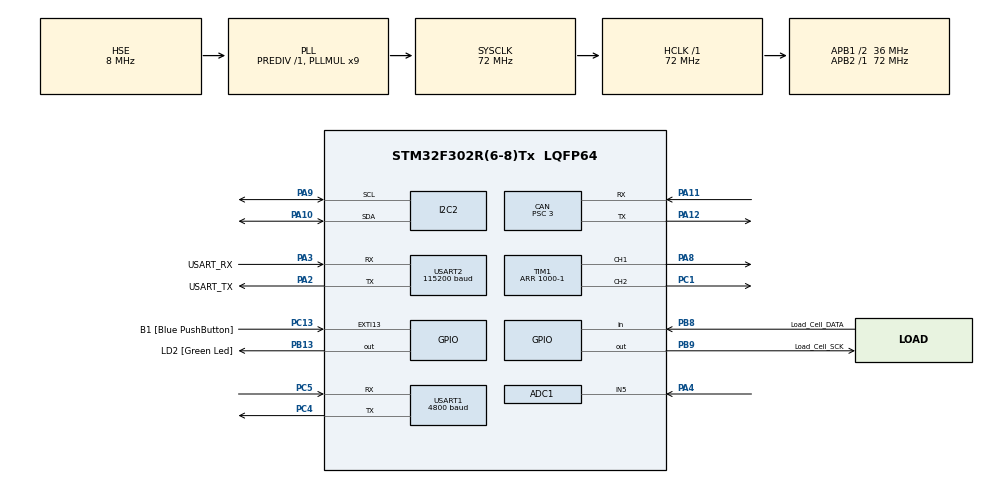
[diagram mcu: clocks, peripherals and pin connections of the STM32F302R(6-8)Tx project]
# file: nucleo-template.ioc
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ADC1.Channel-0\#ChannelRegularConversion=ADC_CHANNEL_5
ADC1.NbrOfConversionFlag=1
ADC1.Offset-0\#ChannelRegularConversion=0
ADC1.OffsetNumber-0\#ChannelRegularConversion=ADC_OFFSET_NONE
ADC1.Rank-0\#ChannelRegularConversion=1
ADC1.SamplingTime-0\#ChannelRegularConversion=ADC_SAMPLETIME_601CYCLES_5
ADC1.SamplingTimeOPAMP-0\#ChannelRegularConversion=ADC_SAMPLETIME_61CYCLES_5
ADC1.SubFamily=STM32F302x8
ADC1.master=1
CAN.ABOM=ENABLE
CAN.BS1=CAN_BS1_9TQ
CAN.BS2=CAN_BS2_2TQ
CAN.CalculateBaudRate=999999
CAN.CalculateTimeBit=1000
CAN.CalculateTimeQuantum=83.33333333333334
CAN.NART=ENABLE
CAN.Prescaler=3
I2C2.Timing=0x00201D2B
IWDG.Prescaler=IWDG_PRESCALER_256
IWDG.Reload=2500
Mcu.Family=STM32F3
Mcu.Name=STM32F302R(6-8)Tx
Mcu.Package=LQFP64
NVIC.CAN_RX1_IRQn=true\:0\:0\:false\:false\:true\:true\:true\:true
NVIC.PriorityGroup=NVIC_PRIORITYGROUP_0
NVIC.TIM6_DAC_IRQn=true\:0\:0\:false\:false\:true\:true\:true\:true
NVIC.USART1_IRQn=true\:0\:0\:false\:false\:true\:true\:true\:true
PA10.Mode=I2C
PA10.Signal=I2C2_SDA
PA11.Mode=CAN_Activate
PA11.Signal=CAN_RX
PA12.Mode=CAN_Activate
PA12.Signal=CAN_TX
PA13.GPIO_Label=TMS
PA13.Mode=Serial_Wire
PA13.Signal=SYS_JTMS-SWDIO
PA14.GPIO_Label=TCK
PA14.Mode=Serial_Wire
PA14.Signal=SYS_JTCK-SWCLK
PA2.GPIO_Label=USART_TX
PA2.GPIO_Mode=GPIO_MODE_AF_PP
PA2.GPIO_PuPd=GPIO_NOPULL
PA2.GPIO_Speed=GPIO_SPEED_FREQ_LOW
PA2.Mode=Asynchronous
PA2.Signal=USART2_TX
PA3.GPIO_Label=USART_RX
PA3.GPIO_Mode=GPIO_MODE_AF_PP
PA3.GPIO_PuPd=GPIO_NOPULL
PA3.GPIO_Speed=GPIO_SPEED_FREQ_LOW
PA3.Mode=Asynchronous
PA3.Signal=USART2_RX
PA4.Mode=IN5-Single-Ended
PA4.Signal=ADC1_IN5
PA8.Signal=S_TIM1_CH1
PA9.Mode=I2C
PA9.Signal=I2C2_SCL
PB13.GPIO_Label=LD2 [Green Led]
PB13.Signal=GPIO_Output
PB3.GPIO_Label=SWO
PB3.Mode=Trace_Asynchronous_SW
PB3.Signal=SYS_JTDO-TRACESWO
PB8.GPIO_Label=Load_Cell_DATA
PB8.Signal=GPIO_Input
PB9.GPIO_Label=Load_Cell_SCK
PB9.Signal=GPIO_Output
PC1.Signal=S_TIM1_CH2
PC13.GPIO_Label=B1 [Blue PushButton]
PC13.GPIO_ModeDefaultEXTI=GPIO_MODE_IT_FALLING
PC13.Signal=GPXTI13
PC14\ -\ OSC32_IN.Mode=LSE-External-Oscillator
PC14\ -\ OSC32_IN.Signal=RCC_OSC32_IN
PC15\ -\ OSC32_OUT.Mode=LSE-External-Oscillator
PC15\ -\ OSC32_OUT.Signal=RCC_OSC32_OUT
PC4.Mode=Asynchronous
PC4.Signal=USART1_TX
PC5.Mode=Asynchronous
PC5.Signal=USART1_RX
PF0-OSC_IN.Mode=HSE-External-Clock-Source
PF0-OSC_IN.Signal=RCC_OSC_IN
PF1-OSC_OUT.Signal=RCC_OSC_OUT
ProjectManager.HeapSize=0x200
ProjectManager.StackSize=0x400
ProjectManager.TargetToolchain=STM32CubeIDE
RCC.AHBFreq_Value=72000000
RCC.APB1CLKDivider=RCC_HCLK_DIV2
RCC.APB1Freq_Value=36000000
RCC.APB1TimFreq_Value=72000000
RCC.APB2Freq_Value=72000000
RCC.APB2TimFreq_Value=72000000
RCC.CortexFreq_Value=72000000
RCC.HCLKFreq_Value=72000000
RCC.HSE_VALUE=8000000
RCC.HSI_VALUE=8000000
RCC.PLLM=8
RCC.PLLMUL=RCC_PLL_MUL9
RCC.PLLN=336
RCC.PLLP=RCC_PLLP_DIV4
RCC.PLLQ=7
RCC.PLLSourceVirtual=RCC_PLLSOURCE_HSE
RCC.SYSCLKFreq_VALUE=72000000
RCC.SYSCLKSourceVirtual=RCC_SYSCLKSOURCE_PLLCLK
RCC.USBFreq_Value=72000000
SH.S_TIM1_CH1.0=TIM1_CH1,PWM Generation1 CH1
SH.S_TIM1_CH2.0=TIM1_CH2,PWM Generation2 CH2
TIM1.Channel-PWM\ Generation1\ CH1=TIM_CHANNEL_1
TIM1.Channel-PWM\ Generation2\ CH2=TIM_CHANNEL_2
TIM1.Period=1000-1
TIM2.Period=65535
TIM2.Prescaler=72-1
TIM6.Prescaler=35999
USART1.BaudRate=4800
USART1.VirtualMode-Asynchronous=VM_ASYNC
USART2.BaudRate=115200
USART2.VirtualMode-Asynchronous=VM_ASYNC
VP_IWDG_VS_IWDG.Mode=IWDG_Activate
VP_TIM2_VS_ClockSourceINT.Mode=Internal
VP_TIM6_VS_ClockSourceINT.Mode=Enable_Timer
board=NUCLEO-F302R8

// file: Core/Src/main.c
/* USER CODE BEGIN Header */
/**
  ******************************************************************************
  * @file           : main.c
  * @brief          : Main program body
  ******************************************************************************
  * @attention
  *
  * Copyright (c) 2026 STMicroelectronics.
  * All rights reserved.
  *
  * This software is licensed under terms that can be found in the LICENSE file
  * in the root directory of this software component.
  * If no LICENSE file comes with this software, it is provided AS-IS.
  *
  ******************************************************************************
  */
/* USER CODE END Header */
#include "main.h"

/* USER CODE BEGIN Includes */
#include "sgp30.h"
#include "h2_sensor_driver.h"
#include "soil_sensor.h"
#include "hx711.h"
#include "weigh.h"
#include "can_handler.h"
#include "logger.h"
#include "pump_driver.h"

/* USER CODE END Includes */

ADC_HandleTypeDef hadc1;

CAN_HandleTypeDef hcan;

I2C_HandleTypeDef hi2c2;

IWDG_HandleTypeDef hiwdg;

TIM_HandleTypeDef htim1;
TIM_HandleTypeDef htim2;
TIM_HandleTypeDef htim6;

UART_HandleTypeDef huart1;
UART_HandleTypeDef huart2;

/* USER CODE BEGIN PV */
volatile uint8_t weighRequest = 0;   /* set by CAN_Process_Incoming() (can_handler.c) */
volatile uint8_t tareRequest = 0;
/* USER CODE END PV */

void SystemClock_Config(void);
static void MX_GPIO_Init(void);
static void MX_USART2_UART_Init(void);
static void MX_CAN_Init(void);
static void MX_ADC1_Init(void);
static void MX_I2C2_Init(void);
static void MX_TIM1_Init(void);
static void MX_USART1_UART_Init(void);
static void MX_IWDG_Init(void);
static void MX_TIM2_Init(void);
static void MX_TIM6_Init(void);

int main(void)
{

  /* MCU Configuration--------------------------------------------------------*/

  /* Reset of all peripherals, Initializes the Flash interface and the Systick. */
  HAL_Init();

  /* Configure the system clock */
  SystemClock_Config();

  /* Initialize all configured peripherals */
  MX_GPIO_Init();
  MX_USART2_UART_Init();
  MX_CAN_Init();
  MX_ADC1_Init();
  MX_I2C2_Init();
  MX_TIM1_Init();
  MX_USART1_UART_Init();
  MX_IWDG_Init();
  MX_TIM2_Init();
  MX_TIM6_Init();
  /* USER CODE BEGIN 2 */
  if (HAL_TIM_PWM_Start(&htim1, TIM_CHANNEL_1) != HAL_OK) {
    Error_Handler();
  }
  LOG_INIT(&huart2);

  if (CAN_CONFIG(&hcan) != HAL_OK) {
    Error_Handler();
  }
  if (HAL_CAN_Start(&hcan) != HAL_OK) {
    Error_Handler();
  }
  if (HAL_CAN_ActivateNotification(&hcan, CAN_IT_RX_FIFO1_MSG_PENDING) != HAL_OK) {
    Error_Handler();
  }

  __HAL_DBGMCU_FREEZE_IWDG();       /* the watchdog pauses while a debugger halts the core */

  /* A sensor that fails to start is logged, not fatal: the loop sends only successful reads, and the
     other sensors keep running. */
  sgp30_t sgp30;
  if (sgp30_init(&sgp30, &hi2c2) != HAL_OK) {
    LOG_ERROR("SGP30 init failed");
  }
  uint32_t co2_start = HAL_GetTick(); /* the SGP30 reports fixed values for 15 s after init */

  H2_Sensor h2;
  if (h2_sensor_init(&h2, &hadc1) != HAL_OK) {
    LOG_ERROR("H2 sensor init failed");
  }

  uint32_t last_second = HAL_GetTick();

  if (HAL_TIM_Base_Start(&htim2) != HAL_OK) {   /* 1 MHz counter for the HX711 clock pulses (hx711.c) */
    Error_Handler();
  }
  HAL_GPIO_WritePin(SCK_PORT, SCK_PIN, GPIO_PIN_SET);     /* reset the HX711: clock high for over 60 us, */
  HAL_Delay(10);
  HAL_GPIO_WritePin(SCK_PORT, SCK_PIN, GPIO_PIN_RESET);   /* then low (HX711 datasheet, p. 5) */
  HAL_Delay(10);

  LOG_INFO("All initializations complete!");

  //Pump test

  pump(&htim6, 50);
  /* USER CODE END 2 */

  /* Infinite loop */
  while (1)
  {

    /* USER CODE BEGIN 3 */
    HAL_IWDG_Refresh(&hiwdg);

    /* Weigh and tare run when CAN_WEIGHT_CELL_ID asks for them (can_handler.c). Each takes 50 HX711 samples:
       about 5 s at 10 samples/s, and at most about 10 s if the HX711 never signals ready (200 ms timeout
       per sample in hx711.c). The watchdog is refreshed after each; its shortest timeout (12.8 s) is longer. */
    if (tareRequest == 1) {
      tare_request(&htim2);
      tareRequest = 0;
      HAL_IWDG_Refresh(&hiwdg);
    }
    if (weighRequest == 1) {
      int weight = weigh(&htim2);   /* milligrams */
      weighRequest = 0;
      weight = weight * 0.95;       /* scaled as in the weight-cell repository's main.c */
      if (CAN_TRANSMIT(&hcan, CAN_WEIGHT_CELL_ID, (uint8_t *) &weight, 4) != HAL_OK) {
        LOG_ERROR("weight CAN send failed");
      }
      HAL_IWDG_Refresh(&hiwdg);
    }

    if (HAL_GetTick() - last_second >= 1000) {   /* the SGP30 must be read every 1 s */
      last_second = HAL_GetTick();             /* restart the second; a slow pass must not cause a catch-up burst */

      sgp30_iaq_t r;
      if (sgp30_read_iaq(&sgp30, &r) == HAL_OK && HAL_GetTick() - co2_start >= 15000) {
        uint8_t data[4] = { r.co2eq_ppm >> 8, r.co2eq_ppm & 0xFF, r.tvoc_ppb >> 8, r.tvoc_ppb & 0xFF };
        if (CAN_TRANSMIT(&hcan, CAN_CO2_ID, data, 4) != HAL_OK) {
          LOG_ERROR("CO2 CAN send failed");
        }
      }

      if (read_ADC(&h2) == HAL_OK) {
        if (transmit_h2_sensor_values(&hcan, &h2) != HAL_OK) {
          LOG_ERROR("H2 CAN send failed");
        }
      }

      /* One soil request per second. The reply arrives by interrupt and is collected below, so a slow
         or missing sensor no longer delays the SGP30 read (sending the request takes about 27 ms). */
      Soil_StartReadAll(&huart1);
    }

    Soil_Data soil;
    if (Soil_PollReadAll(&soil) == SOIL_OK && Soil_CAN_Transmit(&hcan, &soil) != HAL_OK) {
      LOG_ERROR("soil CAN send failed");
    }
  }
  /* USER CODE END 3 */
}

void SystemClock_Config(void)
{
  RCC_OscInitTypeDef RCC_OscInitStruct = {0};
  RCC_ClkInitTypeDef RCC_ClkInitStruct = {0};
  RCC_PeriphCLKInitTypeDef PeriphClkInit = {0};

  /** Initializes the RCC Oscillators according to the specified parameters
  * in the RCC_OscInitTypeDef structure.
  */
  RCC_OscInitStruct.OscillatorType = RCC_OSCILLATORTYPE_HSI|RCC_OSCILLATORTYPE_LSI
                              |RCC_OSCILLATORTYPE_HSE;
  RCC_OscInitStruct.HSEState = RCC_HSE_BYPASS;
  RCC_OscInitStruct.HSEPredivValue = RCC_HSE_PREDIV_DIV1;
  RCC_OscInitStruct.HSIState = RCC_HSI_ON;
  RCC_OscInitStruct.HSICalibrationValue = RCC_HSICALIBRATION_DEFAULT;
  RCC_OscInitStruct.LSIState = RCC_LSI_ON;
  RCC_OscInitStruct.PLL.PLLState = RCC_PLL_ON;
  RCC_OscInitStruct.PLL.PLLSource = RCC_PLLSOURCE_HSE;
  RCC_OscInitStruct.PLL.PLLMUL = RCC_PLL_MUL9;
  if (HAL_RCC_OscConfig(&RCC_OscInitStruct) != HAL_OK)
  {
    Error_Handler();
  }

  /** Initializes the CPU, AHB and APB buses clocks
  */
  RCC_ClkInitStruct.ClockType = RCC_CLOCKTYPE_HCLK|RCC_CLOCKTYPE_SYSCLK
                              |RCC_CLOCKTYPE_PCLK1|RCC_CLOCKTYPE_PCLK2;
  RCC_ClkInitStruct.SYSCLKSource = RCC_SYSCLKSOURCE_PLLCLK;
  RCC_ClkInitStruct.AHBCLKDivider = RCC_SYSCLK_DIV1;
  RCC_ClkInitStruct.APB1CLKDivider = RCC_HCLK_DIV2;
  RCC_ClkInitStruct.APB2CLKDivider = RCC_HCLK_DIV1;

  if (HAL_RCC_ClockConfig(&RCC_ClkInitStruct, FLASH_LATENCY_2) != HAL_OK)
  {
    Error_Handler();
  }
  PeriphClkInit.PeriphClockSelection = RCC_PERIPHCLK_USART1|RCC_PERIPHCLK_I2C2
                              |RCC_PERIPHCLK_TIM1|RCC_PERIPHCLK_ADC1;
  PeriphClkInit.Usart1ClockSelection = RCC_USART1CLKSOURCE_PCLK1;
  PeriphClkInit.I2c2ClockSelection = RCC_I2C2CLKSOURCE_HSI;
  PeriphClkInit.Tim1ClockSelection = RCC_TIM1CLK_HCLK;
  PeriphClkInit.Adc1ClockSelection = RCC_ADC1PLLCLK_DIV1;

  if (HAL_RCCEx_PeriphCLKConfig(&PeriphClkInit) != HAL_OK)
  {
    Error_Handler();
  }
}

static void MX_ADC1_Init(void)
{

  ADC_ChannelConfTypeDef sConfig = {0};

  /** Common config
  */
  hadc1.Instance = ADC1;
  hadc1.Init.ClockPrescaler = ADC_CLOCK_ASYNC_DIV1;
  hadc1.Init.Resolution = ADC_RESOLUTION_12B;
  hadc1.Init.ScanConvMode = ADC_SCAN_DISABLE;
  hadc1.Init.ContinuousConvMode = DISABLE;
  hadc1.Init.DiscontinuousConvMode = DISABLE;
  hadc1.Init.ExternalTrigConvEdge = ADC_EXTERNALTRIGCONVEDGE_NONE;
  hadc1.Init.ExternalTrigConv = ADC_SOFTWARE_START;
  hadc1.Init.DataAlign = ADC_DATAALIGN_RIGHT;
  hadc1.Init.NbrOfConversion = 1;
  hadc1.Init.DMAContinuousRequests = DISABLE;
  hadc1.Init.EOCSelection = ADC_EOC_SINGLE_CONV;
  hadc1.Init.LowPowerAutoWait = DISABLE;
  hadc1.Init.Overrun = ADC_OVR_DATA_OVERWRITTEN;
  if (HAL_ADC_Init(&hadc1) != HAL_OK)
  {
    Error_Handler();
  }

  /** Configure Regular Channel
  */
  sConfig.Channel = ADC_CHANNEL_5;
  sConfig.Rank = ADC_REGULAR_RANK_1;
  sConfig.SingleDiff = ADC_SINGLE_ENDED;
  sConfig.SamplingTime = ADC_SAMPLETIME_601CYCLES_5;
  sConfig.OffsetNumber = ADC_OFFSET_NONE;
  sConfig.Offset = 0;
  if (HAL_ADC_ConfigChannel(&hadc1, &sConfig) != HAL_OK)
  {
    Error_Handler();
  }

}

static void MX_CAN_Init(void)
{

  hcan.Instance = CAN;
  hcan.Init.Prescaler = 3;
  hcan.Init.Mode = CAN_MODE_NORMAL;
  hcan.Init.SyncJumpWidth = CAN_SJW_1TQ;
  hcan.Init.TimeSeg1 = CAN_BS1_9TQ;
  hcan.Init.TimeSeg2 = CAN_BS2_2TQ;
  hcan.Init.TimeTriggeredMode = DISABLE;
  hcan.Init.AutoBusOff = ENABLE;
  hcan.Init.AutoWakeUp = DISABLE;
  hcan.Init.AutoRetransmission = ENABLE;
  hcan.Init.ReceiveFifoLocked = DISABLE;
  hcan.Init.TransmitFifoPriority = DISABLE;
  if (HAL_CAN_Init(&hcan) != HAL_OK)
  {
    Error_Handler();
  }

}

static void MX_I2C2_Init(void)
{

  hi2c2.Instance = I2C2;
  hi2c2.Init.Timing = 0x00201D2B;
  hi2c2.Init.OwnAddress1 = 0;
  hi2c2.Init.AddressingMode = I2C_ADDRESSINGMODE_7BIT;
  hi2c2.Init.DualAddressMode = I2C_DUALADDRESS_DISABLE;
  hi2c2.Init.OwnAddress2 = 0;
  hi2c2.Init.OwnAddress2Masks = I2C_OA2_NOMASK;
  hi2c2.Init.GeneralCallMode = I2C_GENERALCALL_DISABLE;
  hi2c2.Init.NoStretchMode = I2C_NOSTRETCH_DISABLE;
  if (HAL_I2C_Init(&hi2c2) != HAL_OK)
  {
    Error_Handler();
  }

  /** Configure Analogue filter
  */
  if (HAL_I2CEx_ConfigAnalogFilter(&hi2c2, I2C_ANALOGFILTER_ENABLE) != HAL_OK)
  {
    Error_Handler();
  }

  /** Configure Digital filter
  */
  if (HAL_I2CEx_ConfigDigitalFilter(&hi2c2, 0) != HAL_OK)
  {
    Error_Handler();
  }

}

static void MX_IWDG_Init(void)
{

  hiwdg.Instance = IWDG;
  hiwdg.Init.Prescaler = IWDG_PRESCALER_256;
  hiwdg.Init.Window = 4095;
  hiwdg.Init.Reload = 2500;
  if (HAL_IWDG_Init(&hiwdg) != HAL_OK)
  {
    Error_Handler();
  }

}

static void MX_TIM1_Init(void)
{

  TIM_MasterConfigTypeDef sMasterConfig = {0};
  TIM_OC_InitTypeDef sConfigOC = {0};
  TIM_BreakDeadTimeConfigTypeDef sBreakDeadTimeConfig = {0};

  htim1.Instance = TIM1;
  htim1.Init.Prescaler = 0;
  htim1.Init.CounterMode = TIM_COUNTERMODE_UP;
  htim1.Init.Period = 1000-1;
  htim1.Init.ClockDivision = TIM_CLOCKDIVISION_DIV1;
  htim1.Init.RepetitionCounter = 0;
  htim1.Init.AutoReloadPreload = TIM_AUTORELOAD_PRELOAD_DISABLE;
  if (HAL_TIM_PWM_Init(&htim1) != HAL_OK)
  {
    Error_Handler();
  }
  sMasterConfig.MasterOutputTrigger = TIM_TRGO_RESET;
  sMasterConfig.MasterOutputTrigger2 = TIM_TRGO2_RESET;
  sMasterConfig.MasterSlaveMode = TIM_MASTERSLAVEMODE_DISABLE;
  if (HAL_TIMEx_MasterConfigSynchronization(&htim1, &sMasterConfig) != HAL_OK)
  {
    Error_Handler();
  }
  sConfigOC.OCMode = TIM_OCMODE_PWM1;
  sConfigOC.Pulse = 0;
  sConfigOC.OCPolarity = TIM_OCPOLARITY_HIGH;
  sConfigOC.OCNPolarity = TIM_OCNPOLARITY_HIGH;
  sConfigOC.OCFastMode = TIM_OCFAST_DISABLE;
  sConfigOC.OCIdleState = TIM_OCIDLESTATE_RESET;
  sConfigOC.OCNIdleState = TIM_OCNIDLESTATE_RESET;
  if (HAL_TIM_PWM_ConfigChannel(&htim1, &sConfigOC, TIM_CHANNEL_1) != HAL_OK)
  {
    Error_Handler();
  }
  if (HAL_TIM_PWM_ConfigChannel(&htim1, &sConfigOC, TIM_CHANNEL_2) != HAL_OK)
  {
    Error_Handler();
  }
  sBreakDeadTimeConfig.OffStateRunMode = TIM_OSSR_DISABLE;
  sBreakDeadTimeConfig.OffStateIDLEMode = TIM_OSSI_DISABLE;
  sBreakDeadTimeConfig.LockLevel = TIM_LOCKLEVEL_OFF;
  sBreakDeadTimeConfig.DeadTime = 0;
  sBreakDeadTimeConfig.BreakState = TIM_BREAK_DISABLE;
  sBreakDeadTimeConfig.BreakPolarity = TIM_BREAKPOLARITY_HIGH;
  sBreakDeadTimeConfig.BreakFilter = 0;
  sBreakDeadTimeConfig.Break2State = TIM_BREAK2_DISABLE;
  sBreakDeadTimeConfig.Break2Polarity = TIM_BREAK2POLARITY_HIGH;
  sBreakDeadTimeConfig.Break2Filter = 0;
  sBreakDeadTimeConfig.AutomaticOutput = TIM_AUTOMATICOUTPUT_DISABLE;
  if (HAL_TIMEx_ConfigBreakDeadTime(&htim1, &sBreakDeadTimeConfig) != HAL_OK)
  {
    Error_Handler();
  }
  HAL_TIM_MspPostInit(&htim1);

}

static void MX_TIM2_Init(void)
{

  TIM_ClockConfigTypeDef sClockSourceConfig = {0};
  TIM_MasterConfigTypeDef sMasterConfig = {0};

  htim2.Instance = TIM2;
  htim2.Init.Prescaler = 72-1;
  htim2.Init.CounterMode = TIM_COUNTERMODE_UP;
  htim2.Init.Period = 65535;
  htim2.Init.ClockDivision = TIM_CLOCKDIVISION_DIV1;
  htim2.Init.AutoReloadPreload = TIM_AUTORELOAD_PRELOAD_DISABLE;
  if (HAL_TIM_Base_Init(&htim2) != HAL_OK)
  {
    Error_Handler();
  }
  sClockSourceConfig.ClockSource = TIM_CLOCKSOURCE_INTERNAL;
  if (HAL_TIM_ConfigClockSource(&htim2, &sClockSourceConfig) != HAL_OK)
  {
    Error_Handler();
  }
  sMasterConfig.MasterOutputTrigger = TIM_TRGO_RESET;
  sMasterConfig.MasterSlaveMode = TIM_MASTERSLAVEMODE_DISABLE;
  if (HAL_TIMEx_MasterConfigSynchronization(&htim2, &sMasterConfig) != HAL_OK)
  {
    Error_Handler();
  }

}

static void MX_TIM6_Init(void)
{

  TIM_MasterConfigTypeDef sMasterConfig = {0};

  htim6.Instance = TIM6;
  htim6.Init.Prescaler = 35999;
  htim6.Init.CounterMode = TIM_COUNTERMODE_UP;
  htim6.Init.Period = 65535;
  htim6.Init.AutoReloadPreload = TIM_AUTORELOAD_PRELOAD_DISABLE;
  if (HAL_TIM_Base_Init(&htim6) != HAL_OK)
  {
    Error_Handler();
  }
  sMasterConfig.MasterOutputTrigger = TIM_TRGO_RESET;
  sMasterConfig.MasterSlaveMode = TIM_MASTERSLAVEMODE_DISABLE;
  if (HAL_TIMEx_MasterConfigSynchronization(&htim6, &sMasterConfig) != HAL_OK)
  {
    Error_Handler();
  }

}

static void MX_USART1_UART_Init(void)
{

  huart1.Instance = USART1;
  huart1.Init.BaudRate = 4800;
  huart1.Init.WordLength = UART_WORDLENGTH_8B;
  huart1.Init.StopBits = UART_STOPBITS_1;
  huart1.Init.Parity = UART_PARITY_NONE;
  huart1.Init.Mode = UART_MODE_TX_RX;
  huart1.Init.HwFlowCtl = UART_HWCONTROL_NONE;
  huart1.Init.OverSampling = UART_OVERSAMPLING_16;
  huart1.Init.OneBitSampling = UART_ONE_BIT_SAMPLE_DISABLE;
  huart1.AdvancedInit.AdvFeatureInit = UART_ADVFEATURE_NO_INIT;
  if (HAL_UART_Init(&huart1) != HAL_OK)
  {
    Error_Handler();
  }

}

static void MX_USART2_UART_Init(void)
{

  huart2.Instance = USART2;
  huart2.Init.BaudRate = 115200;
  huart2.Init.WordLength = UART_WORDLENGTH_8B;
  huart2.Init.StopBits = UART_STOPBITS_1;
  huart2.Init.Parity = UART_PARITY_NONE;
  huart2.Init.Mode = UART_MODE_TX_RX;
  huart2.Init.HwFlowCtl = UART_HWCONTROL_NONE;
  huart2.Init.OverSampling = UART_OVERSAMPLING_16;
  huart2.Init.OneBitSampling = UART_ONE_BIT_SAMPLE_DISABLE;
  huart2.AdvancedInit.AdvFeatureInit = UART_ADVFEATURE_NO_INIT;
  if (HAL_UART_Init(&huart2) != HAL_OK)
  {
    Error_Handler();
  }

}

static void MX_GPIO_Init(void)
{
  GPIO_InitTypeDef GPIO_InitStruct = {0};

  /* GPIO Ports Clock Enable */
  __HAL_RCC_GPIOC_CLK_ENABLE();
  __HAL_RCC_GPIOF_CLK_ENABLE();
  __HAL_RCC_GPIOA_CLK_ENABLE();
  __HAL_RCC_GPIOB_CLK_ENABLE();

  /*Configure GPIO pin Output Level */
  HAL_GPIO_WritePin(GPIOB, LD2_Pin|Load_Cell_SCK_Pin, GPIO_PIN_RESET);

  /*Configure GPIO pin : B1_Pin */
  GPIO_InitStruct.Pin = B1_Pin;
  GPIO_InitStruct.Mode = GPIO_MODE_IT_FALLING;
  GPIO_InitStruct.Pull = GPIO_NOPULL;
  HAL_GPIO_Init(B1_GPIO_Port, &GPIO_InitStruct);

  /*Configure GPIO pins : LD2_Pin Load_Cell_SCK_Pin */
  GPIO_InitStruct.Pin = LD2_Pin|Load_Cell_SCK_Pin;
  GPIO_InitStruct.Mode = GPIO_MODE_OUTPUT_PP;
  GPIO_InitStruct.Pull = GPIO_NOPULL;
  GPIO_InitStruct.Speed = GPIO_SPEED_FREQ_LOW;
  HAL_GPIO_Init(GPIOB, &GPIO_InitStruct);

  /*Configure GPIO pin : Load_Cell_DATA_Pin */
  GPIO_InitStruct.Pin = Load_Cell_DATA_Pin;
  GPIO_InitStruct.Mode = GPIO_MODE_INPUT;
  GPIO_InitStruct.Pull = GPIO_NOPULL;
  HAL_GPIO_Init(Load_Cell_DATA_GPIO_Port, &GPIO_InitStruct);

}

/* USER CODE BEGIN 4 */
void HAL_CAN_RxFifo1MsgPendingCallback(CAN_HandleTypeDef *hcan_ptr){
	  CAN_RxHeaderTypeDef rxHeader;
	  uint8_t rxData[8];

	  /* Data frames only: a remote (RTR) frame has no data field (RM0365 Figure 392), so rxData would not hold frame data */
	  if (HAL_CAN_GetRxMessage(hcan_ptr, CAN_RX_FIFO1, &rxHeader, rxData) == HAL_OK && rxHeader.RTR == CAN_RTR_DATA)
	  {
	    uint32_t id;

	    if (rxHeader.IDE == CAN_ID_EXT)
	    {
	      id = rxHeader.ExtId;
	    }
	    else
	    {
	      id = rxHeader.StdId;
	    }

	    CAN_Process_Incoming(id, rxData, rxHeader.DLC);
	  }

}
void HAL_TIM_PeriodElapsedCallback(TIM_HandleTypeDef *htim) {

	if (htim->Instance == TIM6) {

		Pump_SetSpeed(0);
		HAL_TIM_Base_Stop_IT(htim);
	}
}

/* USER CODE END 4 */

void Error_Handler(void)
{
  __disable_irq();
  while (1)
  {
  }
}
